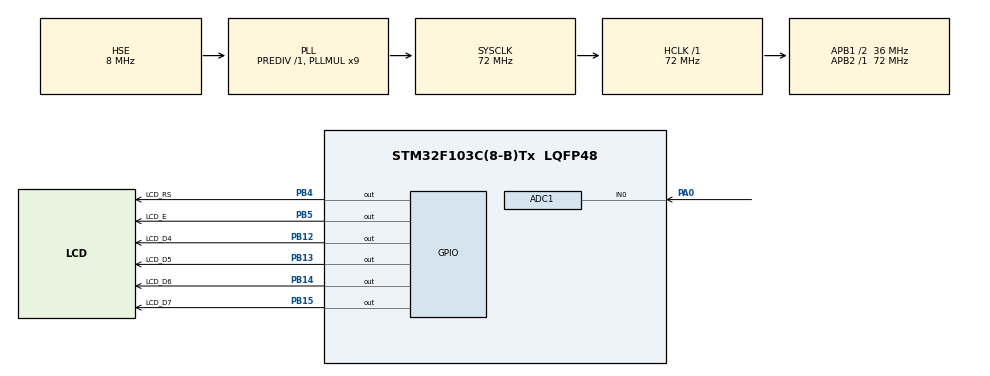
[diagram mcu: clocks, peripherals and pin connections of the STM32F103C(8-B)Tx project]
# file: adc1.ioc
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ADC1.Channel-0\#ChannelRegularConversion=ADC_CHANNEL_0
ADC1.NbrOfConversionFlag=1
ADC1.Rank-0\#ChannelRegularConversion=1
ADC1.SamplingTime-0\#ChannelRegularConversion=ADC_SAMPLETIME_1CYCLE_5
ADC1.master=1
Mcu.Family=STM32F1
Mcu.Name=STM32F103C(8-B)Tx
Mcu.Package=LQFP48
NVIC.PriorityGroup=NVIC_PRIORITYGROUP_4
PA0-WKUP.Signal=ADCx_IN0
PA13.Mode=Serial_Wire
PA13.Signal=SYS_JTMS-SWDIO
PA14.Mode=Serial_Wire
PA14.Signal=SYS_JTCK-SWCLK
PB12.GPIO_Label=LCD_D4
PB12.Signal=GPIO_Output
PB13.GPIO_Label=LCD_D5
PB13.Signal=GPIO_Output
PB14.GPIO_Label=LCD_D6
PB14.Signal=GPIO_Output
PB15.GPIO_Label=LCD_D7
PB15.Signal=GPIO_Output
PB4.GPIO_Label=LCD_RS
PB4.Signal=GPIO_Output
PB5.GPIO_Label=LCD_E
PB5.Signal=GPIO_Output
PD0-OSC_IN.Mode=HSE-External-Oscillator
PD0-OSC_IN.Signal=RCC_OSC_IN
PD1-OSC_OUT.Mode=HSE-External-Oscillator
PD1-OSC_OUT.Signal=RCC_OSC_OUT
ProjectManager.HeapSize=0x200
ProjectManager.StackSize=0x400
ProjectManager.TargetToolchain=SW4STM32
RCC.ADCPresc=RCC_ADCPCLK2_DIV6
RCC.AHBFreq_Value=72000000
RCC.APB1CLKDivider=RCC_HCLK_DIV2
RCC.APB1Freq_Value=36000000
RCC.APB1TimFreq_Value=72000000
RCC.APB2Freq_Value=72000000
RCC.APB2TimFreq_Value=72000000
RCC.HCLKFreq_Value=72000000
RCC.PLLMUL=RCC_PLL_MUL9
RCC.PLLSourceVirtual=RCC_PLLSOURCE_HSE
RCC.SYSCLKFreq_VALUE=72000000
RCC.SYSCLKSource=RCC_SYSCLKSOURCE_PLLCLK
RCC.USBFreq_Value=72000000
SH.ADCx_IN0.0=ADC1_IN0,IN0
board=custom

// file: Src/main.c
/**
  ******************************************************************************
  * @file           : main.c
  * @brief          : Main program body
  ******************************************************************************
  ** This notice applies to any and all portions of this file
  * that are not between comment pairs USER CODE BEGIN and
  * USER CODE END. Other portions of this file, whether
  * inserted by the user or by software development tools
  * are owned by their respective copyright owners.
  *
  * COPYRIGHT(c) 2018 STMicroelectronics
  *
  * Redistribution and use in source and binary forms, with or without modification,
  * are permitted provided that the following conditions are met:
  *   1. Redistributions of source code must retain the above copyright notice,
  *      this list of conditions and the following disclaimer.
  *   2. Redistributions in binary form must reproduce the above copyright notice,
  *      this list of conditions and the following disclaimer in the documentation
  *      and/or other materials provided with the distribution.
  *   3. Neither the name of STMicroelectronics nor the names of its contributors
  *      may be used to endorse or promote products derived from this software
  *      without specific prior written permission.
  *
  * THIS SOFTWARE IS PROVIDED BY THE COPYRIGHT HOLDERS AND CONTRIBUTORS "AS IS"
  * AND ANY EXPRESS OR IMPLIED WARRANTIES, INCLUDING, BUT NOT LIMITED TO, THE
  * IMPLIED WARRANTIES OF MERCHANTABILITY AND FITNESS FOR A PARTICULAR PURPOSE ARE
  * DISCLAIMED. IN NO EVENT SHALL THE COPYRIGHT HOLDER OR CONTRIBUTORS BE LIABLE
  * FOR ANY DIRECT, INDIRECT, INCIDENTAL, SPECIAL, EXEMPLARY, OR CONSEQUENTIAL
  * DAMAGES (INCLUDING, BUT NOT LIMITED TO, PROCUREMENT OF SUBSTITUTE GOODS OR
  * SERVICES; LOSS OF USE, DATA, OR PROFITS; OR BUSINESS INTERRUPTION) HOWEVER
  * CAUSED AND ON ANY THEORY OF LIABILITY, WHETHER IN CONTRACT, STRICT LIABILITY,
  * OR TORT (INCLUDING NEGLIGENCE OR OTHERWISE) ARISING IN ANY WAY OUT OF THE USE
  * OF THIS SOFTWARE, EVEN IF ADVISED OF THE POSSIBILITY OF SUCH DAMAGE.
  *
  ******************************************************************************
  */
#include "main.h"
#include "stm32f1xx_hal.h"

/* USER CODE BEGIN Includes */
#include "hd44780.h"
/* USER CODE END Includes */

ADC_HandleTypeDef hadc1;

/* USER CODE BEGIN PV */
/* Private variables ---------------------------------------------------------*/

/* USER CODE END PV */

void SystemClock_Config(void);
static void MX_GPIO_Init(void);
static void MX_ADC1_Init(void);

/* USER CODE BEGIN PFP */
/* Private function prototypes -----------------------------------------------*/

/* USER CODE END PFP */

int main(void)
{
  /* USER CODE BEGIN 1 */
	uint16_t ADC1_Value;
  /* USER CODE END 1 */

  /* MCU Configuration----------------------------------------------------------*/

  /* Reset of all peripherals, Initializes the Flash interface and the Systick. */
  HAL_Init();

  /* Configure the system clock */
  SystemClock_Config();

  /* Initialize all configured peripherals */
  MX_GPIO_Init();
  MX_ADC1_Init();
  /* USER CODE BEGIN 2 */
  HAL_Delay(100);
  lcdInit();

  /* USER CODE END 2 */

  /* Infinite loop */
  /* USER CODE BEGIN WHILE */
  while (1)
  {
	  lcdClrScr();

	  lcdGoto(LCD_1st_LINE,0);
	  lcdPuts("Conversor ADC1\nIN0=");

      HAL_ADC_Start(&hadc1);
      HAL_ADC_PollForConversion(&hadc1, 50);

      if(HAL_IS_BIT_SET(HAL_ADC_GetState(&hadc1), HAL_ADC_STATE_REG_EOC))
      {
          ADC1_Value = HAL_ADC_GetValue(&hadc1);
          lcdItos(ADC1_Value);
          lcdGoto(LCD_2nd_LINE,11);
    	  lcdFtos(ADC1_Value*3.3f/4096,2);
    	  lcdPuts("V");
      }

	  HAL_Delay(1000);
  /* USER CODE END WHILE */

  }

}

void SystemClock_Config(void)
{

  RCC_OscInitTypeDef RCC_OscInitStruct;
  RCC_ClkInitTypeDef RCC_ClkInitStruct;
  RCC_PeriphCLKInitTypeDef PeriphClkInit;

    /**Initializes the CPU, AHB and APB busses clocks
    */
  RCC_OscInitStruct.OscillatorType = RCC_OSCILLATORTYPE_HSE;
  RCC_OscInitStruct.HSEState = RCC_HSE_ON;
  RCC_OscInitStruct.HSEPredivValue = RCC_HSE_PREDIV_DIV1;
  RCC_OscInitStruct.HSIState = RCC_HSI_ON;
  RCC_OscInitStruct.PLL.PLLState = RCC_PLL_ON;
  RCC_OscInitStruct.PLL.PLLSource = RCC_PLLSOURCE_HSE;
  RCC_OscInitStruct.PLL.PLLMUL = RCC_PLL_MUL9;
  if (HAL_RCC_OscConfig(&RCC_OscInitStruct) != HAL_OK)
  {
    _Error_Handler(__FILE__, __LINE__);
  }

    /**Initializes the CPU, AHB and APB busses clocks
    */
  RCC_ClkInitStruct.ClockType = RCC_CLOCKTYPE_HCLK|RCC_CLOCKTYPE_SYSCLK
                              |RCC_CLOCKTYPE_PCLK1|RCC_CLOCKTYPE_PCLK2;
  RCC_ClkInitStruct.SYSCLKSource = RCC_SYSCLKSOURCE_PLLCLK;
  RCC_ClkInitStruct.AHBCLKDivider = RCC_SYSCLK_DIV1;
  RCC_ClkInitStruct.APB1CLKDivider = RCC_HCLK_DIV2;
  RCC_ClkInitStruct.APB2CLKDivider = RCC_HCLK_DIV1;

  if (HAL_RCC_ClockConfig(&RCC_ClkInitStruct, FLASH_LATENCY_2) != HAL_OK)
  {
    _Error_Handler(__FILE__, __LINE__);
  }

  PeriphClkInit.PeriphClockSelection = RCC_PERIPHCLK_ADC;
  PeriphClkInit.AdcClockSelection = RCC_ADCPCLK2_DIV6;
  if (HAL_RCCEx_PeriphCLKConfig(&PeriphClkInit) != HAL_OK)
  {
    _Error_Handler(__FILE__, __LINE__);
  }

    /**Configure the Systick interrupt time
    */
  HAL_SYSTICK_Config(HAL_RCC_GetHCLKFreq()/1000);

    /**Configure the Systick
    */
  HAL_SYSTICK_CLKSourceConfig(SYSTICK_CLKSOURCE_HCLK);

  /* SysTick_IRQn interrupt configuration */
  HAL_NVIC_SetPriority(SysTick_IRQn, 0, 0);
}

/* ADC1 init function */
static void MX_ADC1_Init(void)
{

  ADC_ChannelConfTypeDef sConfig;

    /**Common config
    */
  hadc1.Instance = ADC1;
  hadc1.Init.ScanConvMode = ADC_SCAN_DISABLE;
  hadc1.Init.ContinuousConvMode = DISABLE;
  hadc1.Init.DiscontinuousConvMode = DISABLE;
  hadc1.Init.ExternalTrigConv = ADC_SOFTWARE_START;
  hadc1.Init.DataAlign = ADC_DATAALIGN_RIGHT;
  hadc1.Init.NbrOfConversion = 1;
  if (HAL_ADC_Init(&hadc1) != HAL_OK)
  {
    _Error_Handler(__FILE__, __LINE__);
  }

    /**Configure Regular Channel
    */
  sConfig.Channel = ADC_CHANNEL_0;
  sConfig.Rank = ADC_REGULAR_RANK_1;
  sConfig.SamplingTime = ADC_SAMPLETIME_1CYCLE_5;
  if (HAL_ADC_ConfigChannel(&hadc1, &sConfig) != HAL_OK)
  {
    _Error_Handler(__FILE__, __LINE__);
  }

}

/** Configure pins as
        * Analog
        * Input
        * Output
        * EVENT_OUT
        * EXTI
*/
static void MX_GPIO_Init(void)
{

  GPIO_InitTypeDef GPIO_InitStruct;

  /* GPIO Ports Clock Enable */
  __HAL_RCC_GPIOD_CLK_ENABLE();
  __HAL_RCC_GPIOA_CLK_ENABLE();
  __HAL_RCC_GPIOB_CLK_ENABLE();

  /*Configure GPIO pin Output Level */
  HAL_GPIO_WritePin(GPIOB, LCD_D4_Pin|LCD_D5_Pin|LCD_D6_Pin|LCD_D7_Pin
                          |LCD_RS_Pin|LCD_E_Pin, GPIO_PIN_RESET);

  /*Configure GPIO pins : LCD_D4_Pin LCD_D5_Pin LCD_D6_Pin LCD_D7_Pin
                           LCD_RS_Pin LCD_E_Pin */
  GPIO_InitStruct.Pin = LCD_D4_Pin|LCD_D5_Pin|LCD_D6_Pin|LCD_D7_Pin
                          |LCD_RS_Pin|LCD_E_Pin;
  GPIO_InitStruct.Mode = GPIO_MODE_OUTPUT_PP;
  GPIO_InitStruct.Pull = GPIO_NOPULL;
  GPIO_InitStruct.Speed = GPIO_SPEED_FREQ_LOW;
  HAL_GPIO_Init(GPIOB, &GPIO_InitStruct);

}

void _Error_Handler(char *file, int line)
{
  while(1)
  {
  }
}

/************************ (C) COPYRIGHT STMicroelectronics *****END OF FILE****/
